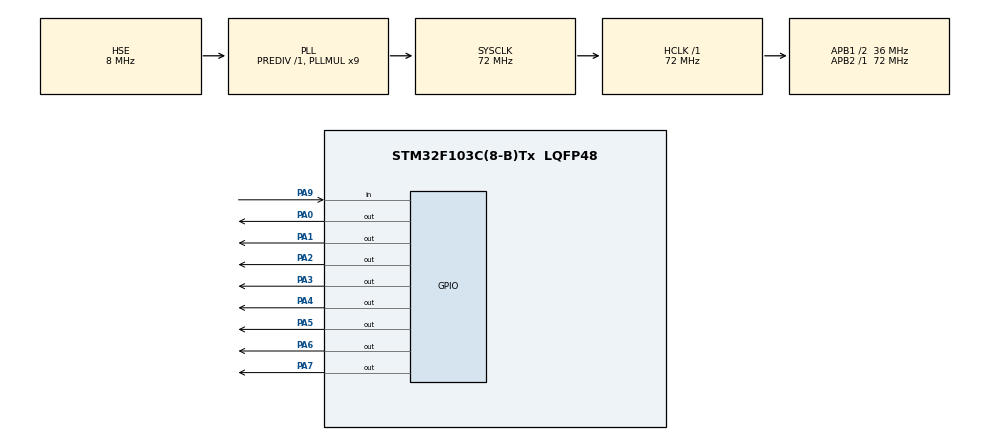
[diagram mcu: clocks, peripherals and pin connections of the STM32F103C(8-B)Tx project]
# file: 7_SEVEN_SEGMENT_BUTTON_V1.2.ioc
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Mcu.Family=STM32F1
Mcu.Name=STM32F103C(8-B)Tx
Mcu.Package=LQFP48
NVIC.PriorityGroup=NVIC_PRIORITYGROUP_4
PA0-WKUP.Signal=GPIO_Output
PA1.Signal=GPIO_Output
PA13.Mode=Serial_Wire
PA13.Signal=SYS_JTMS-SWDIO
PA14.Mode=Serial_Wire
PA14.Signal=SYS_JTCK-SWCLK
PA2.Signal=GPIO_Output
PA3.Signal=GPIO_Output
PA4.Signal=GPIO_Output
PA5.Signal=GPIO_Output
PA6.Signal=GPIO_Output
PA7.Signal=GPIO_Output
PA9.GPIO_PuPd=GPIO_PULLUP
PA9.Signal=GPIO_Input
PD0-OSC_IN.Mode=HSE-External-Oscillator
PD0-OSC_IN.Signal=RCC_OSC_IN
PD1-OSC_OUT.Mode=HSE-External-Oscillator
PD1-OSC_OUT.Signal=RCC_OSC_OUT
ProjectManager.HeapSize=0x200
ProjectManager.StackSize=0x400
ProjectManager.TargetToolchain=MDK-ARM V5.27
RCC.AHBFreq_Value=72000000
RCC.APB1CLKDivider=RCC_HCLK_DIV2
RCC.APB1Freq_Value=36000000
RCC.APB1TimFreq_Value=72000000
RCC.APB2Freq_Value=72000000
RCC.APB2TimFreq_Value=72000000
RCC.HCLKFreq_Value=72000000
RCC.PLLMUL=RCC_PLL_MUL9
RCC.PLLSourceVirtual=RCC_PLLSOURCE_HSE
RCC.SYSCLKFreq_VALUE=72000000
RCC.SYSCLKSource=RCC_SYSCLKSOURCE_PLLCLK
RCC.USBFreq_Value=72000000
board=custom

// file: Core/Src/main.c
/* USER CODE BEGIN Header */
/**
  ******************************************************************************
  * @file           : main.c
  * @brief          : Main program body
  ******************************************************************************
  * @attention
  *
  * <h2><center>&copy; Copyright (c) 2021 STMicroelectronics.
  * All rights reserved.</center></h2>
  *
  * This software component is licensed by ST under BSD 3-Clause license,
  * the "License"; You may not use this file except in compliance with the
  * License. You may obtain a copy of the License at:
  *                        opensource.org/licenses/BSD-3-Clause
  *
  ******************************************************************************
  */
/* USER CODE END Header */
#include "main.h"
#include "gpio.h"

/* USER CODE BEGIN PD */
static uint32_t sayac;
int butondurum;

/* USER CODE END PD */

void SystemClock_Config(void);

int main(void)
{
  /* USER CODE BEGIN 1 */
butondurum= HAL_GPIO_ReadPin(GPIOA,GPIO_PIN_9);
  /* USER CODE END 1 */

  /* MCU Configuration--------------------------------------------------------*/

  /* Reset of all peripherals, Initializes the Flash interface and the Systick. */
  HAL_Init();

  /* Configure the system clock */
  SystemClock_Config();

  /* Initialize all configured peripherals */
  MX_GPIO_Init();

  /* Infinite loop */
  /* USER CODE BEGIN WHILE */
  while (1)
  {

		while(butondurum==0)
		{
			if(butondurum==1)
			{sayac++;}
			HAL_GPIO_WritePin(GPIOA,GPIO_PIN_0,GPIO_PIN_SET);
				switch(sayac)
				{
/*switchbas*/
	/*case 0:
	{*/
					/*case0bas*/
		/*HAL_GPIO_WritePin(GPIOA, GPIO_PIN_1, GPIO_PIN_SET);
			HAL_GPIO_WritePin(GPIOA, GPIO_PIN_2, GPIO_PIN_SET);
				HAL_GPIO_WritePin(GPIOA, GPIO_PIN_3, GPIO_PIN_SET);
				HAL_GPIO_WritePin(GPIOA, GPIO_PIN_4, GPIO_PIN_SET);
				HAL_GPIO_WritePin(GPIOA, GPIO_PIN_5, GPIO_PIN_SET);
				HAL_GPIO_WritePin(GPIOA, GPIO_PIN_6, GPIO_PIN_SET);
				HAL_GPIO_WritePin(GPIOA, GPIO_PIN_7, GPIO_PIN_RESET);
		break;
		}*/
					/* case0bitis*/
		case 1:
	{/*case1bas*/
		HAL_GPIO_WritePin(GPIOA, GPIO_PIN_1, GPIO_PIN_RESET);
			HAL_GPIO_WritePin(GPIOA, GPIO_PIN_2, GPIO_PIN_SET);
				HAL_GPIO_WritePin(GPIOA, GPIO_PIN_3, GPIO_PIN_SET);
				HAL_GPIO_WritePin(GPIOA, GPIO_PIN_4, GPIO_PIN_RESET);
				HAL_GPIO_WritePin(GPIOA, GPIO_PIN_5, GPIO_PIN_RESET);
				HAL_GPIO_WritePin(GPIOA, GPIO_PIN_6, GPIO_PIN_RESET);
				HAL_GPIO_WritePin(GPIOA, GPIO_PIN_7, GPIO_PIN_RESET);

		break;
		}/*case1bitis*/
		case 2:
	{/*case2bas*/
		HAL_GPIO_WritePin(GPIOA, GPIO_PIN_1, GPIO_PIN_SET);
			HAL_GPIO_WritePin(GPIOA, GPIO_PIN_2, GPIO_PIN_SET);
				HAL_GPIO_WritePin(GPIOA, GPIO_PIN_3, GPIO_PIN_RESET);
				HAL_GPIO_WritePin(GPIOA, GPIO_PIN_4, GPIO_PIN_SET);
				HAL_GPIO_WritePin(GPIOA, GPIO_PIN_5, GPIO_PIN_SET);
				HAL_GPIO_WritePin(GPIOA, GPIO_PIN_6, GPIO_PIN_RESET);
				HAL_GPIO_WritePin(GPIOA, GPIO_PIN_7, GPIO_PIN_SET);

		break;
		}/*case2bitis*/
case 3:
	{/*case3bas*/
		HAL_GPIO_WritePin(GPIOA, GPIO_PIN_1, GPIO_PIN_SET);
			HAL_GPIO_WritePin(GPIOA, GPIO_PIN_2, GPIO_PIN_SET);
				HAL_GPIO_WritePin(GPIOA, GPIO_PIN_3, GPIO_PIN_SET);
				HAL_GPIO_WritePin(GPIOA, GPIO_PIN_4, GPIO_PIN_SET);
				HAL_GPIO_WritePin(GPIOA, GPIO_PIN_5, GPIO_PIN_RESET);
				HAL_GPIO_WritePin(GPIOA, GPIO_PIN_6, GPIO_PIN_RESET);
				HAL_GPIO_WritePin(GPIOA, GPIO_PIN_7, GPIO_PIN_SET);

		break;
	}	/*case3bitis*/
case 4:
	{/*case4bas*/
		HAL_GPIO_WritePin(GPIOA, GPIO_PIN_1, GPIO_PIN_RESET);
			HAL_GPIO_WritePin(GPIOA, GPIO_PIN_2, GPIO_PIN_SET);
				HAL_GPIO_WritePin(GPIOA, GPIO_PIN_3, GPIO_PIN_SET);
				HAL_GPIO_WritePin(GPIOA, GPIO_PIN_4, GPIO_PIN_RESET);
				HAL_GPIO_WritePin(GPIOA, GPIO_PIN_5, GPIO_PIN_RESET);
				HAL_GPIO_WritePin(GPIOA, GPIO_PIN_6, GPIO_PIN_SET);
				HAL_GPIO_WritePin(GPIOA, GPIO_PIN_7, GPIO_PIN_SET);

		break;
	}	/*case4bitis*/
case 5:
{/*case5bas*/
HAL_GPIO_WritePin(GPIOA, GPIO_PIN_1, GPIO_PIN_SET);
			HAL_GPIO_WritePin(GPIOA, GPIO_PIN_2, GPIO_PIN_RESET);
				HAL_GPIO_WritePin(GPIOA, GPIO_PIN_3, GPIO_PIN_SET);
				HAL_GPIO_WritePin(GPIOA, GPIO_PIN_4, GPIO_PIN_SET);
				HAL_GPIO_WritePin(GPIOA, GPIO_PIN_5, GPIO_PIN_RESET);
				HAL_GPIO_WritePin(GPIOA, GPIO_PIN_6, GPIO_PIN_SET);
				HAL_GPIO_WritePin(GPIOA, GPIO_PIN_7, GPIO_PIN_SET);
		break;
}/*case5bitis*/
case 6:
{/*case6bas*/
HAL_GPIO_WritePin(GPIOA, GPIO_PIN_1, GPIO_PIN_SET);
			HAL_GPIO_WritePin(GPIOA, GPIO_PIN_2, GPIO_PIN_RESET);
				HAL_GPIO_WritePin(GPIOA, GPIO_PIN_3, GPIO_PIN_SET);
				HAL_GPIO_WritePin(GPIOA, GPIO_PIN_4, GPIO_PIN_SET);
				HAL_GPIO_WritePin(GPIOA, GPIO_PIN_5, GPIO_PIN_SET);
				HAL_GPIO_WritePin(GPIOA, GPIO_PIN_6, GPIO_PIN_SET);
				HAL_GPIO_WritePin(GPIOA, GPIO_PIN_7, GPIO_PIN_SET);
		break;
}/*case6bitis*/
case 7:
{/*case7bas*/
HAL_GPIO_WritePin(GPIOA, GPIO_PIN_1, GPIO_PIN_SET);
			HAL_GPIO_WritePin(GPIOA, GPIO_PIN_2, GPIO_PIN_SET);
				HAL_GPIO_WritePin(GPIOA, GPIO_PIN_3, GPIO_PIN_SET);
				HAL_GPIO_WritePin(GPIOA, GPIO_PIN_4, GPIO_PIN_RESET);
				HAL_GPIO_WritePin(GPIOA, GPIO_PIN_5, GPIO_PIN_RESET);
				HAL_GPIO_WritePin(GPIOA, GPIO_PIN_6, GPIO_PIN_RESET);
				HAL_GPIO_WritePin(GPIOA, GPIO_PIN_7, GPIO_PIN_RESET);
		break;
}/*case7bitis*/
case 8:
{/*case8bas*/
HAL_GPIO_WritePin(GPIOA, GPIO_PIN_1, GPIO_PIN_SET);
			HAL_GPIO_WritePin(GPIOA, GPIO_PIN_2, GPIO_PIN_SET);
				HAL_GPIO_WritePin(GPIOA, GPIO_PIN_3, GPIO_PIN_SET);
				HAL_GPIO_WritePin(GPIOA, GPIO_PIN_4, GPIO_PIN_SET);
				HAL_GPIO_WritePin(GPIOA, GPIO_PIN_5, GPIO_PIN_SET);
				HAL_GPIO_WritePin(GPIOA, GPIO_PIN_6, GPIO_PIN_SET);
				HAL_GPIO_WritePin(GPIOA, GPIO_PIN_7, GPIO_PIN_SET);
		break;
}/*case8bitis*/
case 9:
{/*case9bas*/
HAL_GPIO_WritePin(GPIOA, GPIO_PIN_1, GPIO_PIN_SET);
			HAL_GPIO_WritePin(GPIOA, GPIO_PIN_2, GPIO_PIN_SET);
				HAL_GPIO_WritePin(GPIOA, GPIO_PIN_3, GPIO_PIN_SET);
				HAL_GPIO_WritePin(GPIOA, GPIO_PIN_4, GPIO_PIN_SET);
				HAL_GPIO_WritePin(GPIOA, GPIO_PIN_5, GPIO_PIN_RESET);
				HAL_GPIO_WritePin(GPIOA, GPIO_PIN_6, GPIO_PIN_SET);
				HAL_GPIO_WritePin(GPIOA, GPIO_PIN_7, GPIO_PIN_SET);
		break;
}/*case9bitis*/

}
 /*switch bitis*/
}

    /* USER CODE END WHILE */

  }
}

void SystemClock_Config(void)
{
  RCC_OscInitTypeDef RCC_OscInitStruct = {0};
  RCC_ClkInitTypeDef RCC_ClkInitStruct = {0};

  /** Initializes the RCC Oscillators according to the specified parameters
  * in the RCC_OscInitTypeDef structure.
  */
  RCC_OscInitStruct.OscillatorType = RCC_OSCILLATORTYPE_HSE;
  RCC_OscInitStruct.HSEState = RCC_HSE_ON;
  RCC_OscInitStruct.HSEPredivValue = RCC_HSE_PREDIV_DIV1;
  RCC_OscInitStruct.HSIState = RCC_HSI_ON;
  RCC_OscInitStruct.PLL.PLLState = RCC_PLL_ON;
  RCC_OscInitStruct.PLL.PLLSource = RCC_PLLSOURCE_HSE;
  RCC_OscInitStruct.PLL.PLLMUL = RCC_PLL_MUL9;
  if (HAL_RCC_OscConfig(&RCC_OscInitStruct) != HAL_OK)
  {
    Error_Handler();
  }
  /** Initializes the CPU, AHB and APB buses clocks
  */
  RCC_ClkInitStruct.ClockType = RCC_CLOCKTYPE_HCLK|RCC_CLOCKTYPE_SYSCLK
                              |RCC_CLOCKTYPE_PCLK1|RCC_CLOCKTYPE_PCLK2;
  RCC_ClkInitStruct.SYSCLKSource = RCC_SYSCLKSOURCE_PLLCLK;
  RCC_ClkInitStruct.AHBCLKDivider = RCC_SYSCLK_DIV1;
  RCC_ClkInitStruct.APB1CLKDivider = RCC_HCLK_DIV2;
  RCC_ClkInitStruct.APB2CLKDivider = RCC_HCLK_DIV1;

  if (HAL_RCC_ClockConfig(&RCC_ClkInitStruct, FLASH_LATENCY_2) != HAL_OK)
  {
    Error_Handler();
  }
}

void Error_Handler(void)
{
  __disable_irq();
  while (1)
  {
  }
}

/************************ (C) COPYRIGHT STMicroelectronics *****END OF FILE****/
